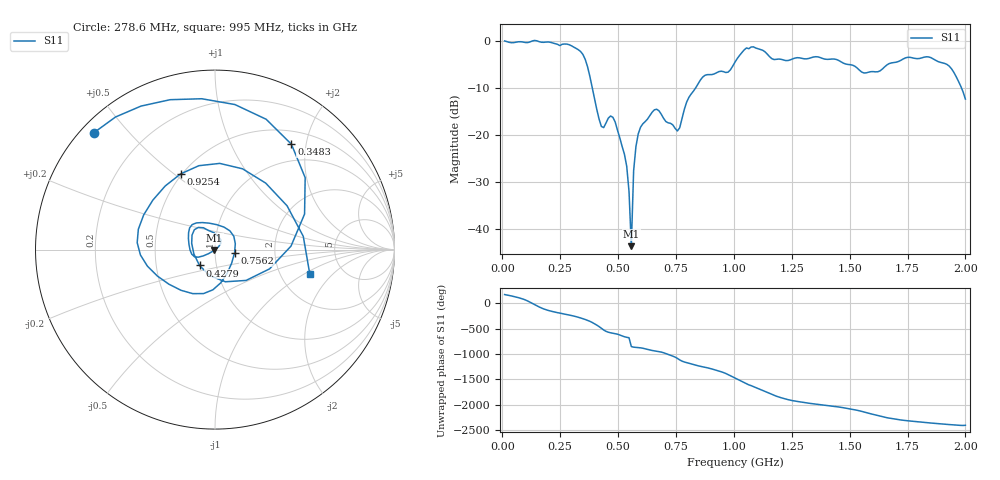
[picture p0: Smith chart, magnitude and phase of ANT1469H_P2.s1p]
!Created with skrf (http://scikit-rf.org).
# Hz S RI R 50.0
!freq ReS11 ImS11
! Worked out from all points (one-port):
!   201 points, 10 MHz to 2 GHz, reference 50 ohm
!   lowest |S11| = -43.8 dB at 557.2 MHz (marker M1), VSWR 1.01, Z = 49.5 - j0.451 ohm
!   |S11| at or under -10 dB: 388.8 MHz to 833.9 MHz (445.2 MHz wide, 72.8 % of centre); 1.984 GHz to end of sweep
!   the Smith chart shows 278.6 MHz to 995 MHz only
!   S11 on the Smith chart (normalised r, x): 278.6 MHz: 0.04, +0.40; 348.3 MHz: 0.70, +1.74; 427.9 MHz: 0.83, -0.15; 756.2 MHz: 1.24, -0.05; 925.4 MHz: 0.49, +0.53; 995 MHz: 2.92, -1.12
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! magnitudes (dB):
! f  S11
! 10 MHz  0.1
! 258.8 MHz  -0.6
! 278.6 MHz  -0.6
! 348.3 MHz  -2.8
! 427.9 MHz  -18.2
! 477.6 MHz  -16.2
! 507.5 MHz  -20.6
! 537.4 MHz  -26.7
! 547.3 MHz  -32.1
! 557.2 MHz  -43.8
! 567.2 MHz  -27.7
! 577.1 MHz  -22.5
! 597 MHz  -18.3
! 666.7 MHz  -14.5
! 756.2 MHz  -19.1
! 796 MHz  -13.0
! 855.8 MHz  -8.2
! 925.4 MHz  -6.7
! 995 MHz  -5.3
! 1.005 GHz  -4.4
! 1.085 GHz  -1.2
! 1.174 GHz  -3.9
! 1.254 GHz  -3.7
! 1.502 GHz  -5.0
! 1.622 GHz  -6.5
! 1.751 GHz  -3.4
! 1.92 GHz  -4.9
! 2 GHz  -12.3
